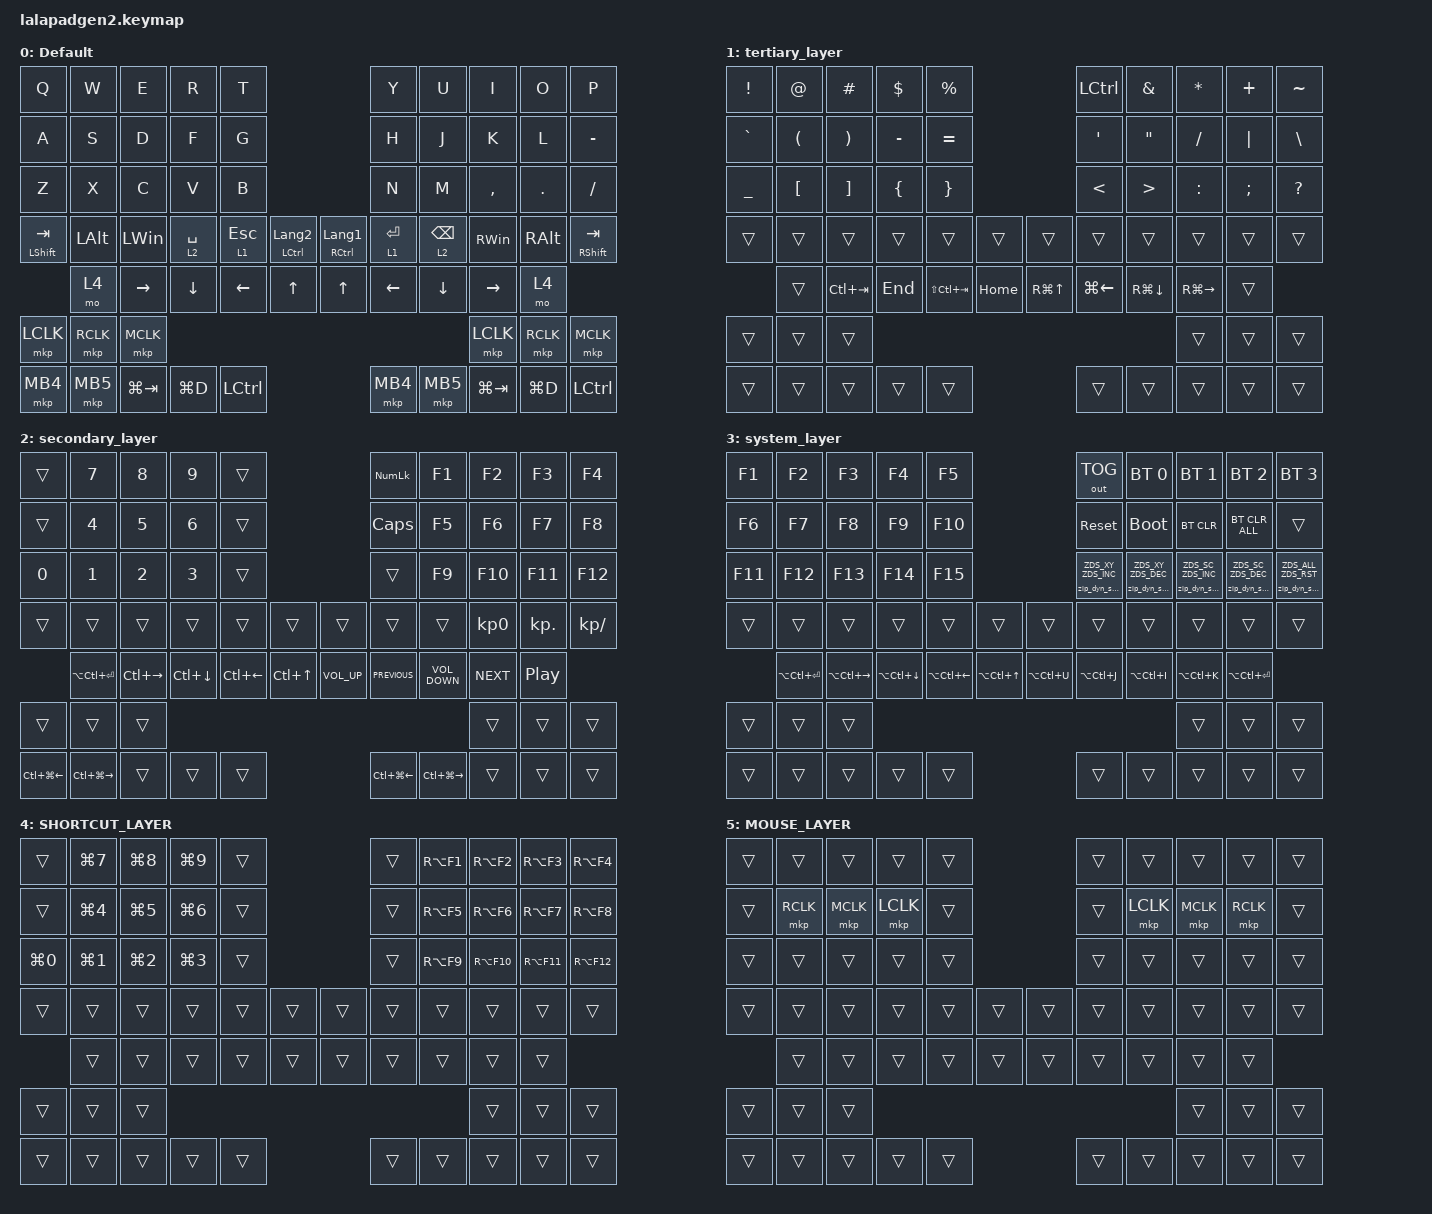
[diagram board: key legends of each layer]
#include <input/processors.dtsi>
#include <dt-bindings/zmk/zip_dynamic_scale.h>
#include <behaviors.dtsi>
#include <dt-bindings/zmk/bt.h>
#include <dt-bindings/zmk/keys.h>
#include <dt-bindings/zmk/outputs.h>
#include <dt-bindings/zmk/pointing.h>

#define DEFAULT_LAYER   0
#define SECONDARY_LAYER 1
#define TERTIARY_LAYER  2
#define SYSTEM_LAYER    3

&mt { quick-tap-ms = <200>; };

&lt { quick-tap-ms = <200>; };

/ {
    behaviors {
        zip_dyn_scale: zip_dyn_scale {
            compatible = "zmk,behavior-zip-dynamic-scale";
            #binding-cells = <2>;
        };

        zip_dyn_scale_set: zip_dyn_scale_set {
            compatible = "zmk,behavior-zip-dynamic-scale-set";
            #binding-cells = <2>;
        };

        mt2: mod_tap2 {
            compatible = "zmk,behavior-hold-tap";
            #binding-cells = <2>;
            flavor = "tap-preferred";
            tapping-term-ms = <200>;
            quick-tap-ms = <200>;
            require-prior-idle-ms = <125>;
            bindings = <&kp>, <&kp>;
        };

        tap_dance_layer_1and2: tap_dance_layer_1and2 {
            compatible = "zmk,behavior-tap-dance";
            label = "td_mo12";
            #binding-cells = <0>;
            bindings = <&mo 3>, <&mo 1>;
        };
    };

    combos { compatible = "zmk,combos"; };

    keymap {
        compatible = "zmk,keymap";

        DEFAULT_LAYER {
            display-name = "Default";
            bindings = <
&kp Q          &kp W      &kp E        &kp R        &kp T                                                     &kp Y        &kp U            &kp I        &kp O       &kp P
&kp A          &kp S      &kp D        &kp F        &kp G                                                     &kp H        &kp J            &kp K        &kp L       &kp MINUS
&kp Z          &kp X      &kp C        &kp V        &kp B                                                     &kp N        &kp M            &kp COMMA    &kp PERIOD  &kp SLASH
&mt LSHFT TAB  &kp LALT   &kp LWIN     &lt 2 SPACE  &lt 1 ESCAPE  &mt LCTRL LANGUAGE_2  &mt RCTRL LANGUAGE_1  &lt 1 ENTER  &lt 2 BACKSPACE  &kp RWIN     &kp RALT    &mt RSHFT TAB
               &mo 4      &kp RIGHT    &kp DOWN     &kp LEFT      &kp UP                &kp UP                &kp LEFT     &kp DOWN         &kp RIGHT    &mo 4
&mkp LCLK      &mkp RCLK  &mkp MCLK                                                                                                         &mkp LCLK    &mkp RCLK   &mkp MCLK
&mkp MB4       &mkp MB5   &kp LG(TAB)  &kp LG(D)    &kp LCTRL                                                 &mkp MB4     &mkp MB5         &kp LG(TAB)  &kp LG(D)   &kp LCTRL
            >;
        };

        TERTIARY_LAYER {
            display-name = "tertiary_layer";
            bindings = <
&kp EXCLAMATION  &kp AT_SIGN  &kp HASH     &kp DOLLAR  &kp PERCENT                            &kp LCTRL         &kp AMPERSAND      &kp ASTERISK   &kp PLUS       &kp TILDE
&kp GRAVE        &kp LPAR     &kp RPAR     &kp MINUS   &kp EQUAL                              &kp SINGLE_QUOTE  &kp DOUBLE_QUOTES  &kp SLASH      &kp PIPE       &kp BACKSLASH
&kp UNDERSCORE   &kp LBKT     &kp RBKT     &kp LBRC    &kp RBRC                               &kp LESS_THAN     &kp GREATER_THAN   &kp COLON      &kp SEMICOLON  &kp QUESTION
&trans           &trans       &trans       &trans      &trans           &trans    &trans      &trans            &trans             &trans         &trans         &trans
                 &trans       &kp LC(TAB)  &kp END     &kp LS(LC(TAB))  &kp HOME  &kp RG(UP)  &kp LG(LEFT)      &kp RG(DOWN)       &kp RG(RIGHT)  &trans
&trans           &trans       &trans                                                                                               &trans         &trans         &trans
&trans           &trans       &trans       &trans      &trans                                 &trans            &trans             &trans         &trans         &trans
            >;
        };

        SECONDARY_LAYER {
            display-name = "secondary_layer";
            bindings = <
&trans            &kp NUMBER_7       &kp NUMBER_8   &kp NUMBER_9  &trans                                     &kp KP_NUMLOCK    &kp F1             &kp F2           &kp F3            &kp F4
&trans            &kp NUMBER_4       &kp NUMBER_5   &kp NUMBER_6  &trans                                     &kp CAPSLOCK      &kp F5             &kp F6           &kp F7            &kp F8
&kp NUMBER_0      &kp NUMBER_1       &kp NUMBER_2   &kp NUMBER_3  &trans                                     &trans            &kp F9             &kp F10          &kp F11           &kp F12
&trans            &trans             &trans         &trans        &trans        &trans      &trans           &trans            &trans             &kp KP_NUMBER_0  &kp KP_DOT        &kp KP_DIVIDE
                  &kp LA(LC(ENTER))  &kp LC(RIGHT)  &kp LC(DOWN)  &kp LC(LEFT)  &kp LC(UP)  &kp C_VOLUME_UP  &kp C_PREVIOUS    &kp C_VOLUME_DOWN  &kp C_NEXT       &kp C_PLAY_PAUSE
&trans            &trans             &trans                                                                                                       &trans           &trans            &trans
&kp LC(LG(LEFT))  &kp LC(LG(RIGHT))  &trans         &trans        &trans                                     &kp LC(LG(LEFT))  &kp LC(LG(RIGHT))  &trans           &trans            &trans
            >;
        };

        SYSTEM_LAYER {
            display-name = "system_layer";
            bindings = <
&kp F1   &kp F2             &kp F3             &kp F4            &kp F5                                           &out OUT_TOG                   &bt BT_SEL 0                   &bt BT_SEL 1                   &bt BT_SEL 2                   &bt BT_SEL 3
&kp F6   &kp F7             &kp F8             &kp F9            &kp F10                                          &sys_reset                     &bootloader                    &bt BT_CLR                     &bt BT_CLR_ALL                 &trans
&kp F11  &kp F12            &kp F13            &kp F14           &kp F15                                          &zip_dyn_scale ZDS_XY ZDS_INC  &zip_dyn_scale ZDS_XY ZDS_DEC  &zip_dyn_scale ZDS_SC ZDS_INC  &zip_dyn_scale ZDS_SC ZDS_DEC  &zip_dyn_scale ZDS_ALL ZDS_RST
&trans   &trans             &trans             &trans            &trans            &trans          &trans         &trans                         &trans                         &trans                         &trans                         &trans
         &kp LA(LC(ENTER))  &kp LA(LC(RIGHT))  &kp LA(LC(DOWN))  &kp LA(LC(LEFT))  &kp LA(LC(UP))  &kp LA(LC(U))  &kp LA(LC(J))                  &kp LA(LC(I))                  &kp LA(LC(K))                  &kp LA(LC(ENTER))
&trans   &trans             &trans                                                                                                                                              &trans                         &trans                         &trans
&trans   &trans             &trans             &trans            &trans                                           &trans                         &trans                         &trans                         &trans                         &trans
            >;
        };

        SHORTCUT_LAYER {
            bindings = <
&trans            &kp LG(NUMBER_7)  &kp LG(NUMBER_8)  &kp LG(NUMBER_9)  &trans                  &trans  &kp RA(F1)  &kp RA(F2)   &kp RA(F3)   &kp RA(F4)
&trans            &kp LG(NUMBER_4)  &kp LG(NUMBER_5)  &kp LG(NUMBER_6)  &trans                  &trans  &kp RA(F5)  &kp RA(F6)   &kp RA(F7)   &kp RA(F8)
&kp LG(NUMBER_0)  &kp LG(NUMBER_1)  &kp LG(NUMBER_2)  &kp LG(NUMBER_3)  &trans                  &trans  &kp RA(F9)  &kp RA(F10)  &kp RA(F11)  &kp RA(F12)
&trans            &trans            &trans            &trans            &trans  &trans  &trans  &trans  &trans      &trans       &trans       &trans
                  &trans            &trans            &trans            &trans  &trans  &trans  &trans  &trans      &trans       &trans
&trans            &trans            &trans                                                                          &trans       &trans       &trans
&trans            &trans            &trans            &trans            &trans                  &trans  &trans      &trans       &trans       &trans
            >;
        };

        MOUSE_LAYER {
            bindings = <
&trans  &trans     &trans     &trans     &trans                  &trans  &trans     &trans     &trans     &trans
&trans  &mkp RCLK  &mkp MCLK  &mkp LCLK  &trans                  &trans  &mkp LCLK  &mkp MCLK  &mkp RCLK  &trans
&trans  &trans     &trans     &trans     &trans                  &trans  &trans     &trans     &trans     &trans
&trans  &trans     &trans     &trans     &trans  &trans  &trans  &trans  &trans     &trans     &trans     &trans
        &trans     &trans     &trans     &trans  &trans  &trans  &trans  &trans     &trans     &trans
&trans  &trans     &trans                                                           &trans     &trans     &trans
&trans  &trans     &trans     &trans     &trans                  &trans  &trans     &trans     &trans     &trans
            >;
        };
    };

    conditional_layers {
        compatible = "zmk,conditional-layers";

        Cond_Syslayer {
            if-layers = <1 2>;
            then-layer = <3>;
        };
    };
};
